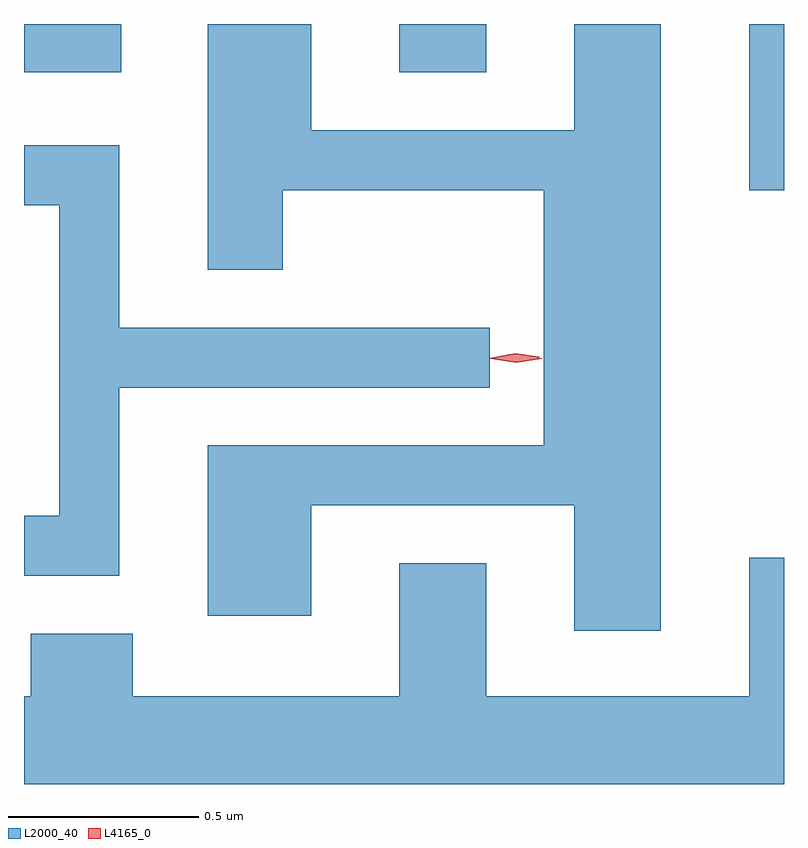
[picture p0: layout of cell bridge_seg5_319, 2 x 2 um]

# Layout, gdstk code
import gdstk
lib = gdstk.Library(unit=1e-6, precision=1e-09)
def R(c, l, rs):  # rectangles x0, y0, x1, y1
    for r in rs: c.add(gdstk.rectangle(r[:2], r[2:], *l))
def P(c, l, *ps):  # polygons
    for p in ps: c.add(gdstk.Polygon(p, *l))
L2000_40 = (2000, 40)
L4165_0 = (4165, 0)

bridge_seg5_319 = lib.new_cell('bridge_seg5_319')
R(bridge_seg5_319, L2000_40, [(764.691,1487.256,764.783,1487.693), (762.783,1487.566,763.039,1487.693), (763.771,1487.566,763.999,1487.693)])
P(bridge_seg5_319, L2000_40, [(764.459,1487.693),(764.231,1487.693),(764.231,1487.414),(763.539,1487.414),(763.539,1487.693),(763.266,1487.693),(763.266,1487.046),(763.464,1487.046),(763.464,1487.256),(764.151,1487.256),(764.151,1486.584),(763.266,1486.584),(763.266,1486.136),(763.539,1486.136),(763.539,1486.426),(764.231,1486.426),(764.231,1486.096),(764.459,1486.096)],
  [(763.034,1486.736),(764.008,1486.736),(764.008,1486.894),(763.034,1486.894),(763.034,1487.374),(762.783,1487.374),(762.783,1487.216),(762.876,1487.216),(762.876,1486.399),(762.783,1486.399),(762.783,1486.241),(763.034,1486.241)],
  [(764.783,1486.289),(764.691,1486.289),(764.691,1485.924),(763.999,1485.924),(763.999,1486.274),(763.771,1486.274),(763.771,1485.924),(763.069,1485.924),(763.069,1486.089),(762.801,1486.089),(762.801,1485.924),(762.783,1485.924),(762.783,1485.693),(764.783,1485.693)])
P(bridge_seg5_319, L4165_0, [(764.078,1486.802),(764.01,1486.812),(764.009,1486.813),(764.01,1486.813),(764.078,1486.822),(764.146,1486.813),(764.146,1486.812),(764.146,1486.812)],
  [(764.076,1486.806),(764.013,1486.814),(764.013,1486.815),(764.013,1486.815),(764.076,1486.826),(764.139,1486.818),(764.14,1486.817),(764.139,1486.816)])

lib.write_gds('bridge_seg5_319.gds')
